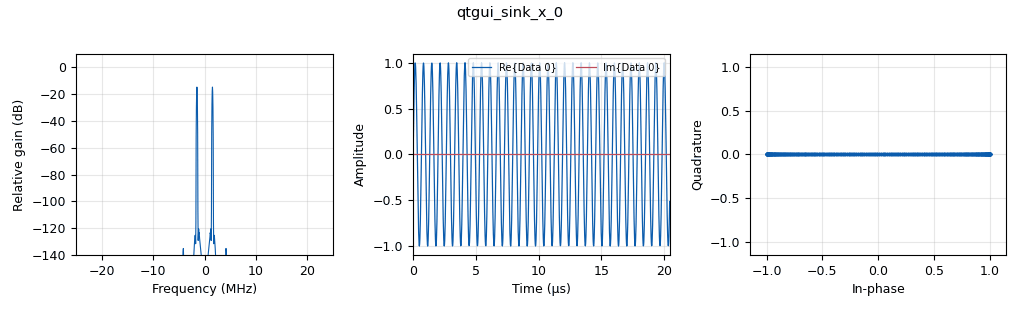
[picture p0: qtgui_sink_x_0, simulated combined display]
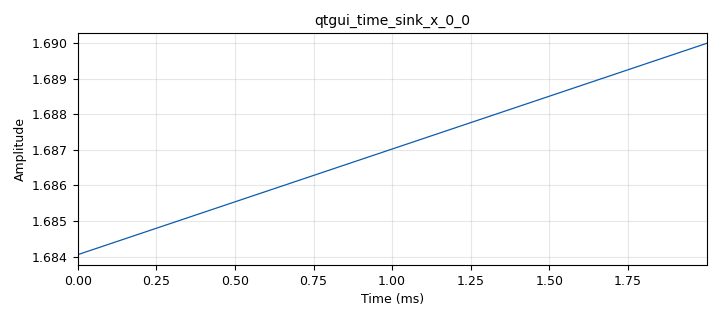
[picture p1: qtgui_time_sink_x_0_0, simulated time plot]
options:
  parameters:
    generate_options: qt_gui
    id: chirp_generator
    output_language: python
    title: Not titled yet
  states: {}

blocks:
- name: samp_rate
  id: variable
  parameters:
    value: '50000000'
  states: {}
- name: analog_sig_source_x_0
  id: analog_sig_source_x
  parameters:
    amp: '3'
    freq: '1'
    offset: '0'
    phase: '0'
    samp_rate: samp_rate
    type: float
    waveform: analog.GR_SAW_WAVE
  states: {}
- name: blocks_float_to_complex_0
  id: blocks_float_to_complex
  parameters: {}
  states: {}
- name: blocks_vco_f_0
  id: blocks_vco_f
  parameters:
    amplitude: '1'
    samp_rate: samp_rate
    sensitivity: '6280000'
  states: {}
- name: qtgui_sink_x_0
  id: qtgui_sink_x
  parameters:
    bw: samp_rate
    fc: '0'
    fftsize: '1024'
    rate: '1000'
    type: complex
  states: {}
- name: qtgui_time_sink_x_0_0
  id: qtgui_time_sink_x
  parameters:
    autoscale: 'True'
    size: '100000'
    srate: samp_rate
    tr_mode: qtgui.TRIG_MODE_AUTO
    type: float
  states: {}

connections:
- [analog_sig_source_x_0, '0', blocks_vco_f_0, '0']
- [analog_sig_source_x_0, '0', qtgui_time_sink_x_0_0, '0']
- [blocks_float_to_complex_0, '0', qtgui_sink_x_0, '0']
- [blocks_vco_f_0, '0', blocks_float_to_complex_0, '0']

metadata:
  file_format: 1
  grc_version: 3.9.8.0-rc1
